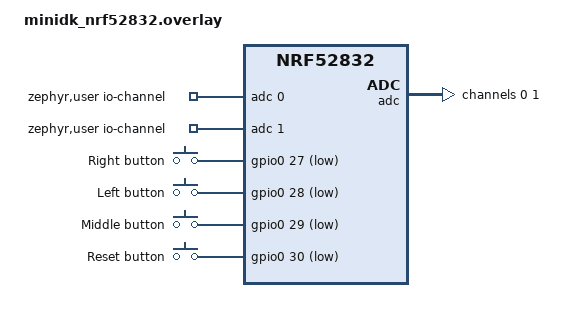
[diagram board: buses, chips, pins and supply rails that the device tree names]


/ {
    zephyr,user {
		io-channels = <&adc 0>, <&adc 1>;
	};

    aliases {
        right = &btn_r;
        left = &btn_l;
        middle = &btn_m;
        rst = &btn_rst;
	};

    buttons {
		btn_r: btn_r {
			gpios = < &gpio0 27 (GPIO_PULL_UP | GPIO_ACTIVE_LOW) >;
            label = "Right button";
		};

        btn_l: btn_l {
			gpios = < &gpio0 28 (GPIO_PULL_UP | GPIO_ACTIVE_LOW) >;
            label = "Left button";
		};

        btn_m: btn_m {
			gpios = < &gpio0 29 (GPIO_PULL_UP | GPIO_ACTIVE_LOW) >;
            label = "Middle button";
		};

        btn_rst: btn_rst {
			gpios = < &gpio0 30 (GPIO_PULL_UP | GPIO_ACTIVE_LOW) >;
            label = "Reset button";
		};
	};
};

&adc {
	#address-cells = <1>;
	#size-cells = <0>;

	channel@0 {
		reg = <0>;
		zephyr,gain = "ADC_GAIN_1_6";
		zephyr,reference = "ADC_REF_INTERNAL";
		zephyr,acquisition-time = <ADC_ACQ_TIME_DEFAULT>;
		zephyr,input-positive = <NRF_SAADC_AIN1>; /* P0.03 */
		zephyr,resolution = <12>;
	};

	channel@1 {
		reg = <1>;
		zephyr,gain = "ADC_GAIN_1_6";
		zephyr,reference = "ADC_REF_INTERNAL";
		zephyr,acquisition-time = <ADC_ACQ_TIME_DEFAULT>;
		zephyr,input-positive = <NRF_SAADC_AIN2>; /* P0.04 */
		zephyr,resolution = <12>;
	};
};
